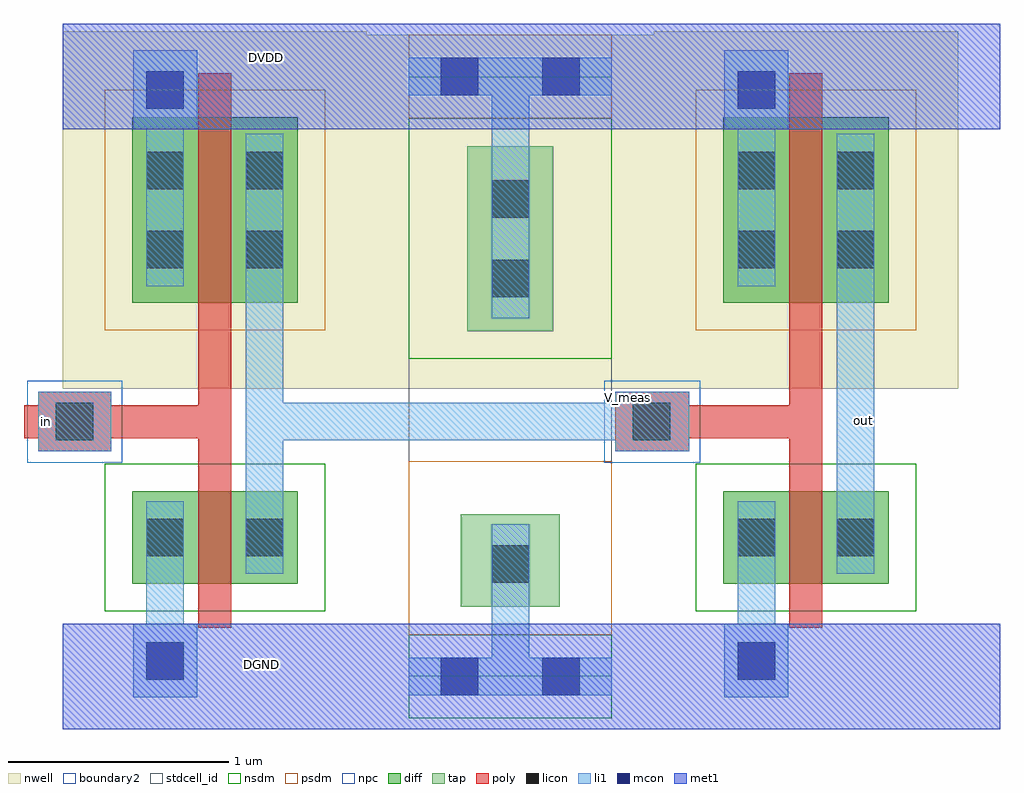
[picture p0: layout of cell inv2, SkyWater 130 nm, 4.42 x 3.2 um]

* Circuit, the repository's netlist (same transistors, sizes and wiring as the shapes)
** sch_path: /home/student/ee5311/tutorial_4/q1b/inv2.sch
.subckt inv2 DVDD out V_meas in DGND
*.PININFO in:I DVDD:B DGND:B out:O V_meas:B
XM1 V_meas in DVDD DVDD sky130_fd_pr__pfet_01v8 L=0.15 W=0.84 nf=1
XM2 V_meas in DGND DGND sky130_fd_pr__nfet_01v8 L=0.15 W=0.42 nf=1
XM3 out V_meas DVDD DVDD sky130_fd_pr__pfet_01v8 L=0.15 W=0.84 nf=1
XM4 out V_meas DGND DGND sky130_fd_pr__nfet_01v8 L=0.15 W=0.42 nf=1
.ends

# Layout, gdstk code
import gdstk
lib = gdstk.Library(unit=1e-6, precision=1e-09)
def R(c, l, rs):  # rectangles x0, y0, x1, y1
    for r in rs: c.add(gdstk.rectangle(r[:2], r[2:], *l))
nwell = (64, 20)
diff = (65, 20)
tap = (65, 44)
poly = (66, 20)
licon = (66, 44)
li1 = (67, 20)
mcon = (67, 44)
met1 = (68, 20)
stdcell_id = (81, 4)
nsdm = (93, 44)
psdm = (94, 20)
npc = (95, 20)
boundary2 = (236, 0)

tap_ = lib.new_cell('tap')
R(tap_, nwell, [(-0.19,1.305,1.11,2.91)])
R(tap_, tap, [(0.235,0.315,0.685,0.735), (0.265,1.565,0.655,2.405)])
R(tap_, licon, [(0.375,0.425,0.545,0.595), (0.375,1.72,0.545,1.89), (0.375,2.08,0.545,2.25)])
R(tap_, li1, [(0,-0.085,0.92,0.085), (0.375,0,0.545,0.69), (0.375,1.625,0.545,2.72), (0,2.635,0.92,2.805)])
R(tap_, mcon, [(0.145,-0.085,0.315,0.085), (0.605,-0.085,0.775,0.085), (0.145,2.635,0.315,2.805), (0.605,2.635,0.775,2.805)])
R(tap_, met1, [(0,-0.24,0.92,0.24), (0,2.48,0.92,2.96)])
R(tap_, stdcell_id, [(0,0,0.92,2.72)])
R(tap_, nsdm, [(0,-0.19,0.92,0.19), (0,1.44,0.92,2.53)])
R(tap_, psdm, [(0,0.19,0.92,0.975), (0,2.53,0.92,2.91)])
R(tap_, boundary2, [(0,0,0.92,2.72)])
tap_.add(gdstk.Label('tap', (0,0), layer=83, texttype=44))

pfet = lib.new_cell('pfet')
R(pfet, nwell, [(-0.315,-0.39,1.065,1.23)])
R(pfet, diff, [(0,0,0.75,0.84)])
R(pfet, poly, [(0.3,-0.2,0.45,1.04)])
R(pfet, licon, [(0.065,0.155,0.235,0.325), (0.515,0.155,0.685,0.325), (0.065,0.515,0.235,0.685), (0.515,0.515,0.685,0.685)])
R(pfet, li1, [(0.065,0.075,0.235,0.765), (0.515,0.075,0.685,0.765)])
R(pfet, psdm, [(-0.125,-0.125,0.875,0.965)])

nfet = lib.new_cell('nfet')
R(nfet, diff, [(0,0,0.75,0.42)])
R(nfet, poly, [(0.3,-0.2,0.45,0.62)])
R(nfet, licon, [(0.065,0.125,0.235,0.295), (0.515,0.125,0.685,0.295)])
R(nfet, li1, [(0.065,0.045,0.235,0.375), (0.515,0.045,0.685,0.375)])
R(nfet, nsdm, [(-0.125,-0.125,0.875,0.545)])

vias_gen = lib.new_cell('vias_gen')
R(vias_gen, li1, [(0,0,0.29,0.36)])
R(vias_gen, mcon, [(0.06,0.095,0.23,0.265)])
R(vias_gen, met1, [(0,0,0.29,0.36)])

vias_gen_1 = lib.new_cell('vias_gen$1')
R(vias_gen_1, li1, [(0,0,0.29,0.335)])
R(vias_gen_1, mcon, [(0.06,0.08,0.23,0.25)])
R(vias_gen_1, met1, [(0,0,0.29,0.335)])

vias_gen_2 = lib.new_cell('vias_gen$2')
R(vias_gen_2, poly, [(0,0,0.33,0.27)])
R(vias_gen_2, licon, [(0.08,0.05,0.25,0.22)])
R(vias_gen_2, li1, [(0,0,0.33,0.27)])
R(vias_gen_2, npc, [(-0.05,-0.05,0.38,0.32)])

vias_gen_3 = lib.new_cell('vias_gen$3')
R(vias_gen_3, poly, [(0,0,0.335,0.27)])
R(vias_gen_3, licon, [(0.08,0.05,0.25,0.22)])
R(vias_gen_3, li1, [(0,0,0.335,0.27)])
R(vias_gen_3, npc, [(-0.05,-0.05,0.385,0.32)])

inv2 = lib.new_cell('inv2')
inv2.add(gdstk.FlexPath([(1.84,-0.045),(2.175,-0.045)], 0.15, ends="flush", simple_path=True, layer=66, datatype=20))  # poly
inv2.add(gdstk.FlexPath([(1.84,-0.045),(1.385,-0.045)], 0.15, ends="flush", simple_path=True, layer=66, datatype=20))  # poly
inv2.add(gdstk.FlexPath([(2.25,0.295),(2.25,-0.16)], 0.15, ends="flush", simple_path=True, layer=66, datatype=20))  # poly
inv2.add(gdstk.FlexPath([(-0.43,0.295),(-0.43,-0.16)], 0.15, ends="flush", simple_path=True, layer=66, datatype=20))  # poly
inv2.add(gdstk.FlexPath([(-0.84,-0.045),(-1.295,-0.045)], 0.15, ends="flush", simple_path=True, layer=66, datatype=20))  # poly
inv2.add(gdstk.FlexPath([(-0.84,-0.045),(-0.505,-0.045)], 0.15, ends="flush", simple_path=True, layer=66, datatype=20))  # poly
inv2.add(gdstk.FlexPath([(2.475,0.57),(2.475,-0.405),(2.475,-0.405)], 0.17, ends="flush", simple_path=True, layer=67, datatype=20))  # li1
inv2.add(gdstk.FlexPath([(2.025,-0.735),(2.025,-1.295)], 0.17, ends="flush", simple_path=True, layer=67, datatype=20))  # li1
inv2.add(gdstk.FlexPath([(2.025,1.26),(2.025,1.64)], 0.17, ends="flush", simple_path=True, layer=67, datatype=20))  # li1
inv2.add(gdstk.FlexPath([(1.72,-0.045),(-0.12,-0.045)], 0.17, ends="flush", simple_path=True, layer=67, datatype=20))  # li1
inv2.add(gdstk.FlexPath([(-0.655,1.26),(-0.655,1.64)], 0.17, ends="flush", simple_path=True, layer=67, datatype=20))  # li1
inv2.add(gdstk.FlexPath([(-0.655,-0.735),(-0.655,-1.295)], 0.17, ends="flush", simple_path=True, layer=67, datatype=20))  # li1
inv2.add(gdstk.FlexPath([(-0.205,0.57),(-0.205,-0.405),(-0.205,-0.405)], 0.17, ends="flush", simple_path=True, layer=67, datatype=20))  # li1
inv2.add(gdstk.FlexPath([(3.13,-1.2),(1.37,-1.2)], 0.48, ends="flush", simple_path=True, layer=68, datatype=20))  # met1
inv2.add(gdstk.FlexPath([(3.13,1.52),(1.37,1.52)], 0.48, ends="flush", simple_path=True, layer=68, datatype=20))  # met1
inv2.add(gdstk.FlexPath([(0.45,1.52),(-1.12,1.52)], 0.48, ends="flush", simple_path=True, layer=68, datatype=20))  # met1
inv2.add(gdstk.FlexPath([(0.45,-1.2),(-1.12,-1.2)], 0.48, ends="flush", simple_path=True, layer=68, datatype=20))  # met1
inv2.add(gdstk.Reference(tap_, (0.45,-1.2)))
inv2.add(gdstk.Reference(pfet, (-0.805,0.495)))
inv2.add(gdstk.Reference(nfet, (-0.805,-0.78)))
inv2.add(gdstk.Reference(vias_gen, (-0.8,1.28)))
inv2.add(gdstk.Reference(vias_gen_1, (-0.8,-1.295)))
inv2.add(gdstk.Reference(vias_gen_2, (-1.23,-0.18)))
inv2.add(gdstk.Reference(pfet, (1.875,0.495)))
inv2.add(gdstk.Reference(nfet, (1.875,-0.78)))
inv2.add(gdstk.Reference(vias_gen, (1.88,1.28)))
inv2.add(gdstk.Reference(vias_gen_1, (1.88,-1.295)))
inv2.add(gdstk.Reference(vias_gen_3, (1.385,-0.18)))
inv2.add(gdstk.Label('out', (2.51,-0.04), layer=67, texttype=5))
inv2.add(gdstk.Label('V_meas', (1.44,0.065), layer=67, texttype=5))
inv2.add(gdstk.Label('in', (-1.195,-0.045), layer=67, texttype=5))
inv2.add(gdstk.Label('DVDD', (-0.195,1.605), layer=68, texttype=5))
inv2.add(gdstk.Label('DGND', (-0.22,-1.145), layer=68, texttype=5))

lib.write_gds('inv2.gds')
